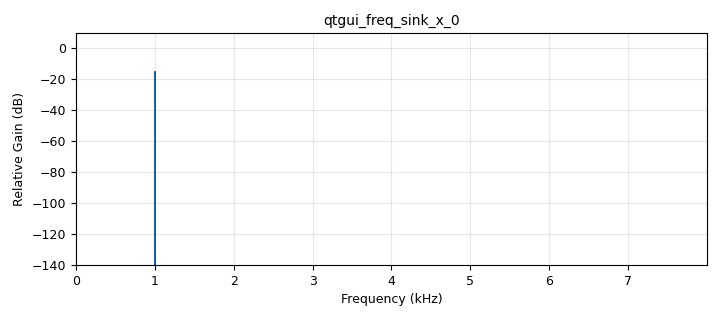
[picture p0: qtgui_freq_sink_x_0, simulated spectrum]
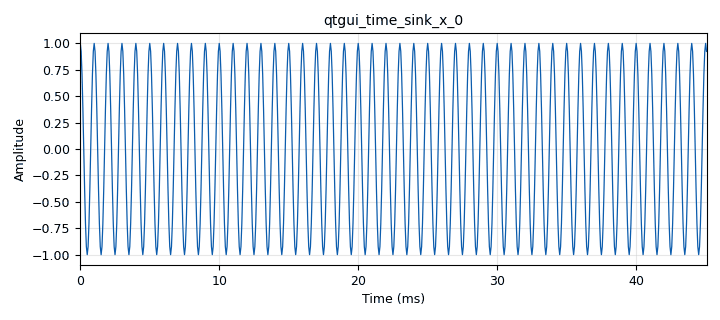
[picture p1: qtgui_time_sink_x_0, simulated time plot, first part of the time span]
options:
  parameters:
    author: jtear
    generate_options: qt_gui
    id: ex2_nyquist
    output_language: python
    title: Not titled yet
  states: {}

blocks:
- name: freq
  id: variable_qtgui_range
  parameters:
    label: Frequency
    start: '1000'
    step: '100'
    stop: '10000'
    value: '1000'
  states: {}
- name: samp_rate
  id: variable_qtgui_range
  parameters:
    label: Sample Rate
    start: '1000'
    step: '100'
    stop: '20000'
    value: '16000'
  states: {}
- name: analog_sig_source_x_0
  id: analog_sig_source_x
  parameters:
    amp: '1'
    freq: freq
    offset: '0'
    phase: '0'
    samp_rate: samp_rate
    type: float
    waveform: analog.GR_COS_WAVE
  states: {}
- name: blocks_throttle2_0
  id: blocks_throttle2
  parameters:
    samples_per_second: samp_rate
    type: float
  states: {}
- name: qtgui_freq_sink_x_0
  id: qtgui_freq_sink_x
  parameters:
    bw: samp_rate
    fc: '0'
    fftsize: '32768'
    freqhalf: 'False'
    grid: 'True'
    type: float
  states: {}
- name: qtgui_time_sink_x_0
  id: qtgui_time_sink_x
  parameters:
    autoscale: 'True'
    grid: 'True'
    size: '2048'
    srate: samp_rate
    type: float
  states: {}

connections:
- [analog_sig_source_x_0, '0', blocks_throttle2_0, '0']
- [blocks_throttle2_0, '0', qtgui_freq_sink_x_0, '0']
- [blocks_throttle2_0, '0', qtgui_time_sink_x_0, '0']

metadata:
  file_format: 1
  grc_version: 3.10.7.0
